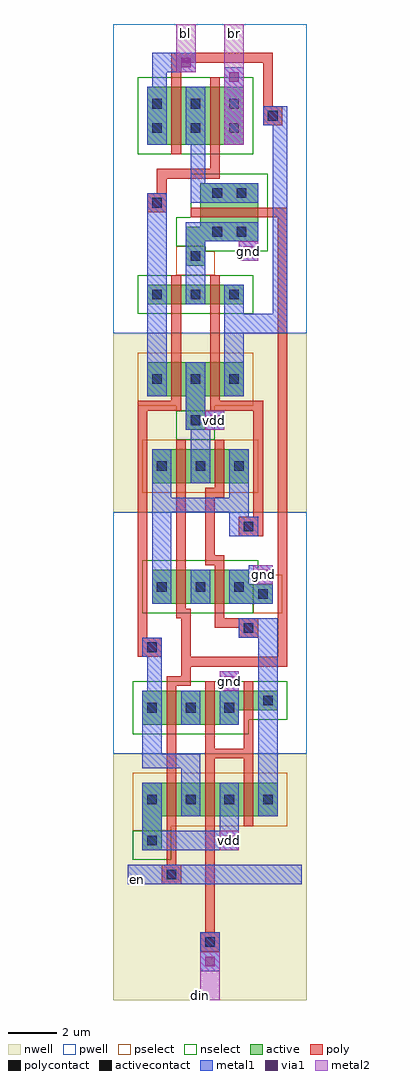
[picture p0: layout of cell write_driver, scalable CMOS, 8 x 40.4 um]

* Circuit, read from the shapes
.subckt write_driver bl br din en gnd vdd
M1 n1 en n2 gnd nfet w=1.4u l=0.4u
M2 gnd n2 n3 gnd nfet w=0.8u l=0.4u
M3 n4 n5 bl gnd nfet w=2.4u l=0.4u
M4 n6 en n7 gnd nfet w=1.4u l=0.4u
M5 n4 en gnd gnd nfet w=2.4u l=0.4u
M6 gnd din n1 gnd nfet w=1.4u l=0.4u
M7 n5 n7 gnd gnd nfet w=0.8u l=0.4u
M8 br n3 n4 gnd nfet w=2.4u l=0.4u
M9 gnd n8 n6 gnd nfet w=1.4u l=0.4u
M10 n8 din gnd gnd nfet w=0.8u l=0.4u
M11 n2 en vdd vdd pfet w=1.4u l=0.4u
M12 vdd n2 n3 vdd pfet w=1.4u l=0.4u
M13 vdd en n7 vdd pfet w=1.4u l=0.4u
M14 vdd din n2 vdd pfet w=1.4u l=0.4u
M15 n5 n7 vdd vdd pfet w=1.4u l=0.4u
M16 n7 n8 vdd vdd pfet w=1.4u l=0.4u
M17 n8 din vdd vdd pfet w=1.4u l=0.4u
.ends

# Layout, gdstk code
import gdstk
lib = gdstk.Library(unit=1e-6, precision=1e-09)
def R(c, l, rs):  # rectangles x0, y0, x1, y1
    for r in rs: c.add(gdstk.rectangle(r[:2], r[2:], *l))
def A(c, l, x, y, w, h, nx, ny, dx, dy):  # array of equal rectangles
    R(c, l, [(x+i*dx, y+j*dy, x+i*dx+w, y+j*dy+h) for i in range(nx) for j in range(ny)])
pwell = (41, 0)
nwell = (42, 0)
active = (43, 0)
pselect = (44, 0)
nselect = (45, 0)
poly = (46, 0)
polycontact = (47, 0)
activecontact = (48, 0)
metal1 = (49, 0)
via1 = (50, 0)
metal2 = (51, 0)

write_driver = lib.new_cell('write_driver')
R(write_driver, pwell, [(-0.6,10.2,7.4,20.2), (-0.6,27.6,7.4,40.4)])
R(write_driver, nwell, [(-0.6,0,7.4,10.2), (-0.6,20.2,7.4,27.6)])
R(write_driver, active, [(0.6,6.2,1.4,7.6), (0.6,7.6,6.2,9), (0.6,11.4,4.6,12), (0.6,12,6.2,12.8), (1,16.4,6,17.2), (1,17.2,5,17.8), (1,21.4,5,22.8), (2.4,23.6,3.2,25), (0.8,25,4.8,26.4), (0.8,28.8,4.8,29.6), (2.4,30.4,3.2,31.4), (2.4,31.4,5.4,32), (3,32,5.4,33.8), (0.8,35.4,4.8,37.8)])
R(write_driver, pselect, [(0.2,7,1.8,7.2), (0.2,7.2,6.6,9.4), (5.2,16,6.4,17.2), (5.4,17.2,6.4,17.6), (0.6,21,5.4,23.2), (2,24.4,3.6,24.6), (0.4,24.6,5.2,26.8), (2,30,3.6,31), (2,31,3.2,31.2)])
R(write_driver, nselect, [(0.2,5.8,1.8,7), (0.2,11,5,11.6), (0.2,11.6,6.6,13.2), (0.6,16,5.2,17.2), (0.6,17.2,5.4,18.2), (2,23.2,3.6,24.4), (0.4,28.4,5.2,30), (3.2,31,5.8,31.2), (2,31.2,5.8,32.4), (2.6,32.4,5.8,34.2), (0.4,35,5.2,38.2)])
R(write_driver, poly, [(3,2,3.8,2.8), (3.2,2.8,3.6,10), (1.4,4.8,2.2,5.6), (1.6,5.6,2,13), (4.8,7.2,5.2,10), (3.2,10,5.2,10.4), (3.2,10.4,3.6,13.2), (4.8,10.4,5.2,13.2), (1.6,13,2.6,13.4), (2.2,13.4,2.6,13.8), (2.2,13.8,6.6,14.2), (0.4,14.2,1.4,15), (2.2,14.2,2.6,15.8), (6.2,14.2,6.6,32.4), (0.4,15,0.8,24.4), (4.6,15,5.4,15.4), (3.6,15.4,5.4,15.8), (2,15.8,2.6,16.2), (3.6,15.8,4,18), (2,16.2,2.4,23.2), (3.2,18,4,18.4), (3.2,18.4,3.6,20.8), (4.6,19.2,5.6,20), (5.2,20,5.6,24.4), (3.2,20.8,4,21.2), (3.6,21.2,4,23.2), (0.4,24.4,2.2,24.8), (3.4,24.4,5.6,24.8), (1.8,24.8,2.2,30), (3.4,24.8,3.8,30), (2.6,32.4,6.6,32.8), (0.8,32.6,1.6,33.4), (1.2,33.4,1.6,34), (1.2,34,3.8,34.4), (3.4,34.4,3.8,38.2), (1.8,35,2.2,38.8), (5.6,36.2,6.4,37), (5.6,37,6,38.8), (1.8,38.8,6,39.2)])
R(write_driver, polycontact, [(3.2,2.2,3.6,2.6), (1.6,5,2,5.4), (0.8,14.4,1.2,14.8), (4.8,15.2,5.2,15.6), (4.8,19.4,5.2,19.8), (1,32.8,1.4,33.2), (5.8,36.4,6.2,36.8)])
A(write_driver, activecontact, 0.8, 8.1, 0.4, 0.4, 4, 1, 1.6, 0)
A(write_driver, activecontact, 0.8, 11.9, 0.4, 0.4, 3, 1, 1.6, 0)
A(write_driver, activecontact, 1.2, 16.9, 0.4, 0.4, 3, 2, 1.6, 5)
A(write_driver, activecontact, 1, 25.5, 0.4, 0.4, 3, 2, 1.6, 3.5)
A(write_driver, activecontact, 1, 35.9, 0.4, 0.4, 3, 2, 1.6, 1)
R(write_driver, activecontact, [(0.8,6.4,1.2,6.8), (5.6,12.2,6,12.6), (5.4,16.6,5.8,17), (2.6,23.8,3,24.2), (2.6,30.6,3,31), (3.5,31.6,3.9,32), (4.5,31.6,4.9,32), (3.5,33.2,3.9,33.6), (4.5,33.2,4.9,33.6)])
R(write_driver, metal1, [(3,1.2,3.8,2.8), (0,4.8,7.2,5.6), (0.6,6.2,4.6,7), (0.6,7,1.4,9), (3.8,7,4.6,9), (2.2,7.6,3,9.6), (5.4,7.6,6.2,15), (0.6,9.6,3,10.2), (0.6,10.2,1.4,12.8), (2.2,11.4,3,12.8), (3.8,11.4,4.6,13.6), (0.8,12.8,1.4,14.2), (0.6,14.2,1.4,15), (4.6,15,6.2,15.8), (1,16.4,1.8,20.2), (2.6,16.4,3.4,17.8), (4.2,16.4,6,17.8), (5,17.8,6,18), (4.2,19.2,5.4,20), (4.2,20,5,20.2), (1,20.2,5,20.8), (1,20.8,1.8,22.8), (4.2,20.8,5,22.8), (2.6,21.4,3.4,23.6), (2.4,23.6,4,24.4), (2.4,24.4,3.2,26.4), (0.8,25,1.6,33.4), (4,25,4.8,27.6), (4,27.6,6.6,28.4), (4,28.4,4.8,29.6), (6,28.4,6.6,36.2), (2.4,28.8,3.2,31.4), (4.6,30.6,5.4,31.4), (2.4,31.4,5.4,32.2), (2.6,33,5.4,33.8), (2.6,33.8,3.2,35.4), (0.8,35.4,1.6,37.8), (2.4,35.4,3.2,37.8), (4,35.4,4.8,38.6), (5.6,36.2,6.6,37), (1,37.8,1.6,38.4), (1,38.4,2.8,39.2)])
R(write_driver, via1, [(3.2,1.4,3.6,1.8), (4,6.4,4.4,6.8), (4,13,4.4,13.4), (5.4,17.4,5.8,17.8), (3.4,23.8,3.8,24.2), (4.8,30.8,5.2,31.2), (4.2,38,4.6,38.4), (2.2,38.6,2.6,39)])
R(write_driver, metal2, [(3,0,3.8,2), (3.8,6.2,4.6,7), (3.8,12.8,4.6,13.6), (5.2,17.2,6,18), (3.2,23.6,4,24.4), (4.6,30.6,5.4,31.4), (4,35.4,4.8,40.4), (2,38.4,2.8,40.4)])
write_driver.add(gdstk.Label('din', (3,0.2), layer=51, texttype=0))
write_driver.add(gdstk.Label('en', (0.4,5), layer=49, texttype=0))
write_driver.add(gdstk.Label('bl', (2.4,40), layer=51, texttype=0))
write_driver.add(gdstk.Label('br', (4.4,40), layer=51, texttype=0))
write_driver.add(gdstk.Label('gnd', (4.2,13.2), layer=51, texttype=0))
write_driver.add(gdstk.Label('gnd', (5.6,17.6), layer=51, texttype=0))
write_driver.add(gdstk.Label('vdd', (4.2,6.6), layer=51, texttype=0))
write_driver.add(gdstk.Label('vdd', (3.6,24), layer=51, texttype=0))
write_driver.add(gdstk.Label('gnd', (5,31), layer=51, texttype=0))

lib.write_gds('write_driver.gds')
